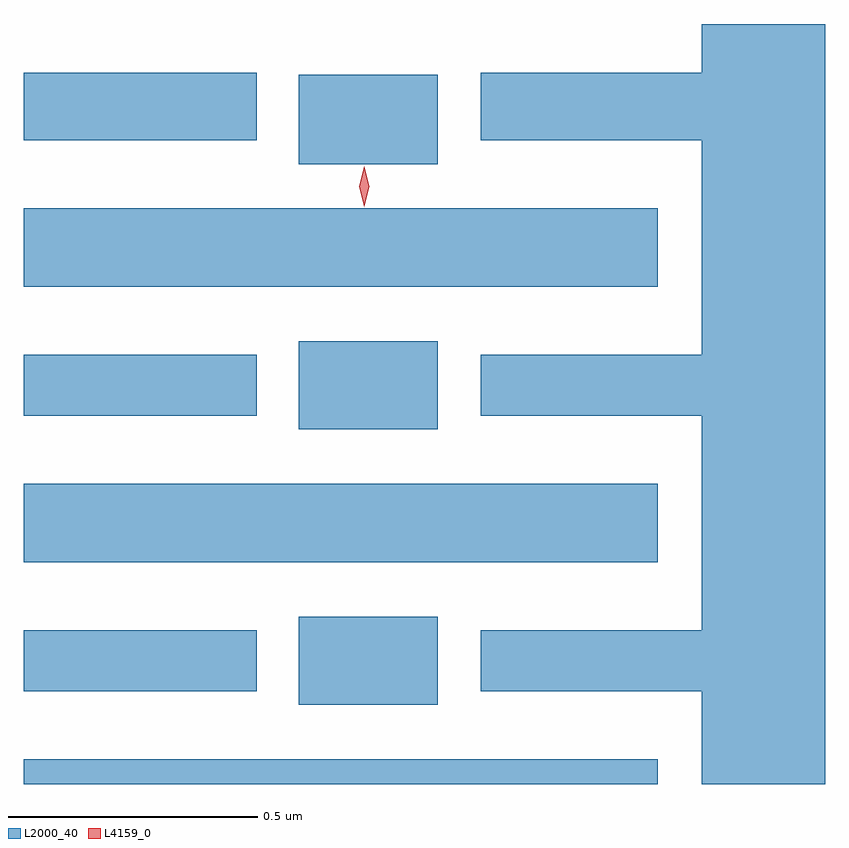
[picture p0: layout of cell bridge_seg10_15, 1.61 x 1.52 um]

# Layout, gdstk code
import gdstk
lib = gdstk.Library(unit=1e-6, precision=1e-09)
def R(c, l, rs):  # rectangles x0, y0, x1, y1
    for r in rs: c.add(gdstk.rectangle(r[:2], r[2:], *l))
def P(c, l, *ps):  # polygons
    for p in ps: c.add(gdstk.Polygon(p, *l))
L2000_40 = (2000, 40)
L4159_0 = (4159, 0)

bridge_seg10_15 = lib.new_cell('bridge_seg10_15')
R(bridge_seg10_15, L2000_40, [(1052.687,1286.573,1053.958,1286.623), (1053.239,1286.732,1053.517,1286.908), (1052.687,1286.759,1053.154,1286.881), (1052.687,1287.017,1053.958,1287.175), (1053.239,1287.284,1053.517,1287.46), (1052.687,1287.311,1053.154,1287.433), (1052.687,1287.569,1053.958,1287.727), (1053.239,1287.815,1053.517,1287.994), (1052.687,1287.863,1053.154,1287.998)])
P(bridge_seg10_15, L2000_40, [(1054.294,1288.096),(1054.046,1288.096),(1054.046,1287.998),(1053.603,1287.998),(1053.603,1287.863),(1054.046,1287.863),(1054.046,1287.433),(1053.603,1287.433),(1053.603,1287.311),(1054.046,1287.311),(1054.046,1286.881),(1053.603,1286.881),(1053.603,1286.759),(1054.046,1286.759),(1054.046,1286.573),(1054.294,1286.573)])
P(bridge_seg10_15, L4159_0, [(1053.37,1287.73),(1053.37,1287.73),(1053.36,1287.771),(1053.37,1287.811),(1053.37,1287.811),(1053.37,1287.811),(1053.38,1287.771),(1053.37,1287.73)])

lib.write_gds('bridge_seg10_15.gds')
